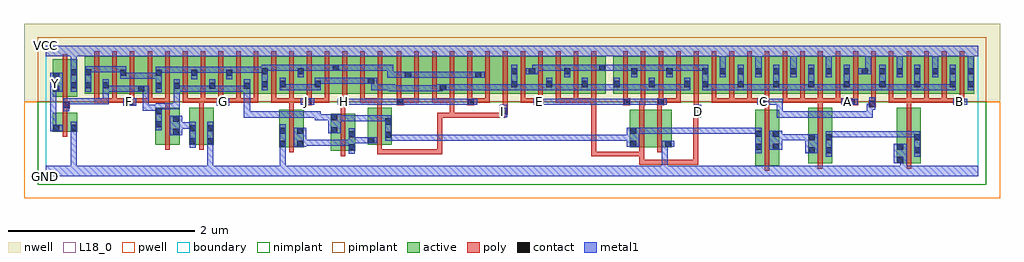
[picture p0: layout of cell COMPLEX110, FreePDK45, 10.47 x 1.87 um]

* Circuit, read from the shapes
.subckt COMPLEX110 A B C D E F G GND H I J VCC Y
M1 GND n1 Y VSUBS nfet w=0.2u l=0.05u
M2 n2 F n1 VSUBS nfet w=0.4u l=0.05u
M3 GND G n2 VSUBS nfet w=0.4u l=0.05u
M4 n3 J GND VSUBS nfet w=0.4u l=0.05u
M5 n3 H n1 VSUBS nfet w=0.4u l=0.05u
M6 n1 I n3 VSUBS nfet w=0.4u l=0.05u
M7 n4 D n1 VSUBS nfet w=0.4u l=0.05u
M8 GND E n4 VSUBS nfet w=0.4u l=0.05u
M9 n5 C n1 VSUBS nfet w=0.6u l=0.05u
M10 n6 A n5 VSUBS nfet w=0.6u l=0.05u
M11 n6 B GND VSUBS nfet w=0.6u l=0.05u
M12 VCC n1 Y n7 pfet w=0.4u l=0.05u
M13 n1 F n8 n7 pfet w=0.4u l=0.05u m=5
M14 n8 G n1 n7 pfet w=0.4u l=0.05u m=5
M15 n9 J n8 n7 pfet w=0.4u l=0.05u m=4
M16 n10 H n8 n7 pfet w=0.4u l=0.05u
M17 n9 I n10 n7 pfet w=0.4u l=0.05u
M18 n11 I n9 n7 pfet w=0.4u l=0.05u
M19 n8 H n11 n7 pfet w=0.4u l=0.05u
M20 n12 H n8 n7 pfet w=0.4u l=0.05u
M21 n9 I n12 n7 pfet w=0.4u l=0.05u
M22 n13 I n9 n7 pfet w=0.4u l=0.05u
M23 n8 H n13 n7 pfet w=0.4u l=0.05u
M24 n14 H n8 n7 pfet w=0.4u l=0.05u
M25 n9 I n14 n7 pfet w=0.4u l=0.05u
M26 n15 E n9 n7 pfet w=0.4u l=0.05u m=5
M27 n15 D n9 n7 pfet w=0.4u l=0.05u m=5
M28 VCC C n15 n7 pfet w=0.4u l=0.05u m=5
M29 VCC A n15 n7 pfet w=0.4u l=0.05u m=5
M30 VCC B n15 n7 pfet w=0.4u l=0.05u m=5
.ends

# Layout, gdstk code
import gdstk
lib = gdstk.Library(unit=1e-6, precision=1e-09)
def R(c, l, rs):  # rectangles x0, y0, x1, y1
    for r in rs: c.add(gdstk.rectangle(r[:2], r[2:], *l))
def A(c, l, x, y, w, h, nx, ny, dx, dy):  # array of equal rectangles
    R(c, l, [(x+i*dx, y+j*dy, x+i*dx+w, y+j*dy+h) for i in range(nx) for j in range(ny)])
active = (1, 0)
pwell = (2, 0)
nwell = (3, 0)
nimplant = (4, 0)
pimplant = (5, 0)
poly = (9, 0)
contact = (10, 0)
metal1 = (11, 0)
L18_0 = (18, 0)
boundary = (235, 0)

complex110 = lib.new_cell('COMPLEX110')
A(complex110, active, 0.985, 0.887, 0.075, 0.183, 3, 1, 0.38, 0)
A(complex110, active, 6.272, 0.887, 0.265, 0.4, 3, 1, 0.19, 0)
A(complex110, active, 9.122, 0.887, 0.265, 0.4, 4, 1, 0.19, 0)
R(complex110, active, [(7.607,0.112,7.867,0.712), (8.177,0.137,8.437,0.737), (9.127,0.137,9.387,0.737), (9.127,0.137,9.202,0.737), (7.607,0.145,7.682,0.712), (7.792,0.145,7.867,0.712), (8.177,0.145,8.252,0.737), (8.362,0.145,8.437,0.737), (9.312,0.145,9.387,0.737), (3.057,0.272,3.317,0.672), (3.242,0.272,3.317,0.562), (2.505,0.312,2.58,0.712), (2.505,0.312,2.765,0.712), (2.69,0.312,2.765,0.562), (6.262,0.312,6.487,0.712), (6.262,0.312,6.337,0.712), (6.487,0.312,6.712,0.712), (6.637,0.312,6.712,0.617), (3.057,0.33,3.132,0.672), (1.175,0.337,1.435,0.737), (1.54,0.337,1.615,0.737), (1.54,0.337,1.8,0.737), (1.725,0.337,1.8,0.737), (3.45,0.337,3.71,0.737), (3.45,0.337,3.525,0.68), (1.175,0.345,1.25,0.737), (1.36,0.345,1.435,0.737), (3.635,0.345,3.71,0.737), (0.075,0.48,0.15,0.68), (0.075,0.48,0.335,0.68), (0.26,0.48,0.335,0.68), (0.075,0.855,0.335,1.255), (0.075,0.855,0.15,1.2), (0.26,0.855,0.335,1.255), (0.415,0.887,0.68,1.287), (0.415,0.887,0.49,1.2), (0.605,0.887,0.865,1.287), (0.79,0.887,0.865,1.2), (0.79,0.887,1.06,1.287), (0.985,0.887,1.247,1.287), (1.172,0.887,1.247,1.2), (1.172,0.887,1.44,1.287), (1.365,0.887,1.63,1.287), (1.555,0.887,1.82,1.287), (1.745,0.887,2.005,1.287), (1.93,0.887,2.195,1.287), (2.12,0.887,2.385,1.287), (2.12,0.887,2.195,1.07), (2.31,0.887,2.385,1.2), (2.31,0.887,2.58,1.287), (2.505,0.887,2.77,1.287), (2.505,0.887,2.58,1.07), (2.695,0.887,2.955,1.287), (2.88,0.887,3.145,1.287), (2.88,0.887,2.955,1.07), (3.07,0.887,3.145,1.2), (3.07,0.887,3.3,1.287), (3.3,0.887,3.525,1.287), (3.45,0.887,3.525,1.07), (3.45,0.887,3.692,1.287), (3.692,0.887,3.922,1.287), (3.847,0.887,4.072,1.287), (4.072,0.887,4.297,1.287), (4.222,0.887,4.297,1.07), (4.222,0.887,4.452,1.287), (4.452,0.887,4.677,1.287), (4.602,0.887,4.832,1.287), (4.832,0.887,5.062,1.287), (4.987,0.887,5.252,1.287), (5.177,0.887,5.437,1.287), (5.362,0.887,5.632,1.287), (5.362,0.887,5.437,1.07), (5.557,0.887,5.817,1.287), (5.742,0.887,6.007,1.287), (5.742,0.887,5.817,1.07), (5.932,0.887,6.007,1.2), (6.087,0.887,6.347,1.287), (6.087,0.887,6.162,1.07), (6.272,0.887,6.347,1.2), (6.462,0.887,6.537,1.07), (6.842,0.887,7.112,1.287), (6.842,0.887,6.917,1.07), (7.037,0.887,7.297,1.287), (7.222,0.887,7.297,1.255), (7.222,0.887,7.492,1.287), (7.417,0.887,7.682,1.287), (7.417,0.887,7.492,1.2), (7.607,0.887,7.872,1.287), (7.797,0.887,8.057,1.287), (7.797,0.887,7.872,1.2), (7.982,0.887,8.247,1.287), (8.172,0.887,8.437,1.287), (8.172,0.887,8.247,1.2), (8.362,0.887,8.63,1.287), (8.555,0.887,8.822,1.287), (8.747,0.887,8.822,1.255), (8.747,0.887,9.012,1.287), (8.937,0.887,9.197,1.287), (9.502,0.887,9.577,1.255), (9.692,0.887,9.767,1.2), (9.882,0.887,9.957,1.255), (0.605,0.907,0.68,1.07), (1.555,0.907,1.63,1.2), (1.93,0.907,2.005,1.2), (2.695,0.907,2.77,1.2), (3.847,0.907,3.922,1.2), (4.602,0.907,4.677,1.2), (4.987,0.907,5.062,1.2), (5.177,0.907,5.252,1.2), (5.557,0.907,5.632,1.2), (6.652,0.907,6.727,1.2), (7.037,0.907,7.112,1.2), (7.607,0.907,7.682,1.255), (7.982,0.907,8.057,1.255), (8.362,0.907,8.437,1.255), (8.555,0.907,8.63,1.2), (8.937,0.907,9.012,1.2), (9.122,0.907,9.197,1.255), (9.312,0.907,9.387,1.2)])
R(complex110, pwell, [(-0.235,-0.235,10.235,0.8)])
R(complex110, nwell, [(-0.235,0.8,10.235,1.635)])
R(complex110, nimplant, [(-0.09,-0.09,10.09,0.8)])
R(complex110, pimplant, [(-0.09,0.8,10.09,1.49)])
A(complex110, poly, 0.52, 0.787, 0.05, 0.095, 17, 1, 0.19, 0)
A(complex110, poly, 1.66, 0.787, 0.24, 0.05, 4, 1, 0.38, 0)
A(complex110, poly, 3.762, 0.787, 0.05, 0.095, 6, 1, 0.19, 0)
A(complex110, poly, 5.092, 0.787, 0.05, 0.095, 5, 1, 0.19, 0)
A(complex110, poly, 7.142, 0.787, 0.05, 0.095, 9, 1, 0.19, 0)
A(complex110, poly, 7.902, 0.787, 0.24, 0.05, 3, 1, 0.19, 0)
A(complex110, poly, 9.042, 0.787, 0.05, 0.095, 5, 1, 0.19, 0)
A(complex110, poly, 9.042, 0.787, 0.24, 0.05, 3, 1, 0.19, 0)
A(complex110, poly, 9.232, 0.787, 0.05, 0.05, 3, 1, 0.19, 0)
A(complex110, poly, 0.52, 0.832, 0.05, 0.51, 17, 1, 0.19, 0)
A(complex110, poly, 3.762, 0.832, 0.05, 0.51, 12, 1, 0.19, 0)
A(complex110, poly, 6.192, 0.832, 0.05, 0.51, 20, 1, 0.19, 0)
R(complex110, poly, [(7.712,0.057,7.762,0.767), (8.282,0.082,8.332,0.792), (9.232,0.082,9.282,0.792), (6.367,0.125,6.517,0.175), (6.367,0.125,6.417,0.262), (6.467,0.125,6.517,0.175), (6.467,0.125,6.55,0.175), (6.5,0.125,6.55,0.175), (6.5,0.125,6.765,0.175), (6.715,0.125,6.765,0.175), (6.715,0.125,6.765,0.175), (6.715,0.125,6.765,0.175), (6.715,0.125,6.765,0.175), (6.715,0.125,6.765,0.175), (6.715,0.125,6.997,0.175), (6.947,0.125,6.997,0.175), (6.947,0.125,6.997,0.175), (6.947,0.125,6.997,0.175), (6.947,0.125,6.997,0.175), (6.947,0.125,6.997,0.175), (6.947,0.125,6.997,0.175), (6.947,0.125,6.997,0.175), (6.947,0.125,6.997,0.712), (5.852,0.212,5.902,0.262), (5.852,0.212,6.212,0.262), (5.852,0.212,5.902,0.837), (6.162,0.212,6.212,0.262), (6.162,0.212,6.212,0.262), (6.162,0.212,6.212,0.262), (6.162,0.212,6.212,0.262), (6.162,0.212,6.212,0.262), (6.162,0.212,6.212,0.262), (6.162,0.212,6.212,0.262), (6.162,0.212,6.385,0.262), (6.335,0.212,6.385,0.262), (6.335,0.212,6.417,0.262), (6.367,0.212,6.417,0.307), (3.162,0.217,3.212,0.727), (3.555,0.237,3.605,0.332), (3.555,0.237,3.605,0.287), (3.555,0.237,3.605,0.287), (3.555,0.237,3.605,0.287), (3.555,0.237,3.87,0.287), (3.82,0.237,3.87,0.287), (3.82,0.237,3.87,0.287), (3.82,0.237,3.87,0.287), (3.82,0.237,4.06,0.287), (4.01,0.237,4.06,0.287), (4.01,0.237,4.06,0.287), (4.01,0.237,4.06,0.287), (4.01,0.237,4.25,0.287), (4.2,0.237,4.25,0.287), (4.2,0.237,4.25,0.68), (2.61,0.257,2.66,0.767), (6.367,0.257,6.417,0.767), (6.557,0.257,6.607,0.767), (1.28,0.282,1.33,0.792), (1.645,0.282,1.695,0.792), (3.555,0.282,3.605,0.792), (0.18,0.425,0.23,0.735), (4.2,0.63,4.25,0.68), (4.2,0.63,4.25,0.68), (4.2,0.63,4.25,0.68), (4.2,0.63,4.25,0.68), (4.2,0.63,4.25,0.68), (4.2,0.63,4.382,0.68), (4.332,0.63,4.382,0.68), (4.332,0.63,4.382,0.68), (4.332,0.63,4.382,0.68), (4.332,0.63,4.382,0.68), (4.332,0.63,4.382,0.68), (4.332,0.63,4.532,0.68), (4.332,0.63,4.382,0.837), (4.482,0.63,4.532,0.68), (4.482,0.63,4.532,0.68), (4.482,0.63,4.532,0.68), (4.482,0.63,4.73,0.68), (4.68,0.63,4.73,0.68), (4.68,0.63,4.927,0.68), (4.877,0.63,4.927,0.68), (4.877,0.63,4.927,0.68), (4.877,0.63,4.927,0.68), (4.877,0.63,4.927,0.68), (4.877,0.63,4.927,0.712), (4.877,0.662,4.927,0.712), (4.877,0.662,4.952,0.737), (6.947,0.662,6.997,0.712), (6.947,0.662,6.997,0.712), (6.947,0.662,7.022,0.737), (3.162,0.677,3.212,0.812), (0.18,0.685,0.23,0.78), (4.902,0.687,4.952,0.882), (6.952,0.687,7.002,0.882), (2.61,0.717,2.66,0.837), (6.367,0.717,6.417,0.812), (6.557,0.717,6.607,0.812), (7.712,0.717,7.762,0.812), (0.18,0.73,0.255,0.805), (1.28,0.742,1.33,0.837), (1.645,0.742,1.695,0.837), (3.555,0.742,3.605,0.837), (8.282,0.742,8.332,0.837), (8.827,0.742,8.902,0.817), (9.232,0.742,9.282,0.837), (0.18,0.755,0.23,0.85), (0.862,0.762,0.95,0.837), (1.85,0.762,1.937,0.837), (2.775,0.762,2.85,0.837), (3.162,0.762,3.237,0.837), (3.762,0.762,3.837,0.837), (4.522,0.762,4.597,0.837), (5.262,0.762,5.337,0.837), (6.192,0.762,6.267,0.837), (6.367,0.762,6.432,0.812), (6.382,0.762,6.432,0.882), (6.557,0.762,6.632,0.837), (7.662,0.762,7.762,0.837), (8.605,0.762,8.712,0.837), (9.777,0.762,9.852,0.837), (8.852,0.767,8.902,0.882), (0.52,0.787,0.57,0.837), (0.52,0.787,0.76,0.837), (0.71,0.787,0.76,0.837), (0.71,0.787,0.76,0.837), (0.71,0.787,0.76,0.837), (0.71,0.787,0.892,0.837), (0.842,0.787,0.892,0.837), (0.842,0.787,0.912,0.837), (0.9,0.787,1.14,0.837), (1.09,0.787,1.14,0.837), (1.09,0.787,1.14,0.837), (1.09,0.787,1.14,0.837), (1.09,0.787,1.33,0.837), (1.28,0.787,1.33,0.837), (1.28,0.787,1.33,0.837), (1.28,0.787,1.33,0.837), (1.47,0.787,1.52,0.837), (1.47,0.787,1.695,0.837), (1.645,0.787,1.695,0.837), (1.645,0.787,1.695,0.837), (1.645,0.787,1.71,0.837), (1.85,0.787,1.9,0.837), (1.85,0.787,1.9,0.837), (1.887,0.787,2.09,0.837), (2.04,0.787,2.09,0.837), (2.04,0.787,2.09,0.837), (2.04,0.787,2.09,0.837), (2.23,0.787,2.28,0.837), (2.23,0.787,2.28,0.837), (2.23,0.787,2.28,0.837), (2.42,0.787,2.47,0.837), (2.42,0.787,2.47,0.837), (2.42,0.787,2.47,0.837), (2.61,0.787,2.66,0.837), (2.61,0.787,2.66,0.837), (2.61,0.787,2.66,0.837), (2.61,0.787,2.825,0.837), (2.99,0.787,3.04,0.837), (2.99,0.787,3.04,0.837), (2.99,0.787,3.04,0.837), (3.37,0.787,3.42,0.837), (3.37,0.787,3.42,0.837), (3.37,0.787,3.42,0.837), (3.37,0.787,3.605,0.837), (3.555,0.787,3.61,0.837), (3.787,0.787,3.837,0.837), (3.787,0.787,3.837,0.837), (3.787,0.787,4.002,0.837), (3.952,0.787,4.002,0.837), (4.142,0.787,4.192,0.837), (4.142,0.787,4.192,0.837), (4.142,0.787,4.192,0.837), (4.142,0.787,4.382,0.837), (4.332,0.787,4.382,0.837), (4.332,0.787,4.382,0.837), (4.332,0.787,4.382,0.837), (4.547,0.787,4.597,0.837), (4.547,0.787,4.597,0.837), (4.547,0.787,4.762,0.837), (4.712,0.787,4.762,0.837), (5.092,0.787,5.142,0.837), (5.092,0.787,5.312,0.837), (5.262,0.787,5.312,0.837), (5.262,0.787,5.312,0.837), (5.472,0.787,5.522,0.837), (5.472,0.787,5.522,0.837), (5.472,0.787,5.522,0.837), (5.472,0.787,5.712,0.837), (5.662,0.787,5.712,0.837), (5.662,0.787,5.712,0.837), (5.662,0.787,5.712,0.837), (5.662,0.787,5.902,0.837), (5.852,0.787,5.902,0.837), (5.852,0.787,5.902,0.837), (5.852,0.787,5.902,0.837), (5.852,0.787,5.902,0.837), (5.852,0.787,5.902,0.837), (5.852,0.787,5.902,0.837), (5.852,0.787,5.902,0.837), (6.192,0.787,6.242,0.882), (6.572,0.787,6.622,0.882), (6.582,0.787,6.812,0.837), (6.762,0.787,6.812,0.882), (6.762,0.787,6.812,0.837), (6.762,0.787,6.812,0.837), (6.762,0.787,6.812,0.837), (7.142,0.787,7.192,0.837), (7.142,0.787,7.382,0.837), (7.332,0.787,7.382,0.837), (7.332,0.787,7.382,0.837), (7.332,0.787,7.382,0.837), (7.332,0.787,7.572,0.837), (7.522,0.787,7.572,0.837), (7.522,0.787,7.572,0.837), (7.522,0.787,7.572,0.837), (7.522,0.787,7.712,0.837), (7.662,0.787,7.712,0.837), (7.662,0.787,7.712,0.837), (7.902,0.787,7.952,0.837), (8.092,0.787,8.142,0.837), (8.092,0.787,8.142,0.837), (8.092,0.787,8.142,0.837), (8.282,0.787,8.332,0.837), (8.282,0.787,8.332,0.837), (8.282,0.787,8.332,0.837), (8.472,0.787,8.522,0.837), (8.472,0.787,8.522,0.837), (8.472,0.787,8.522,0.837), (8.472,0.787,8.655,0.837), (8.605,0.787,8.655,0.837), (8.605,0.787,8.655,0.837), (9.042,0.787,9.092,0.837), (9.042,0.787,9.092,0.837), (9.042,0.787,9.092,0.837), (9.232,0.787,9.282,0.837), (9.232,0.787,9.282,0.837), (9.612,0.787,9.662,0.837), (9.612,0.787,9.662,0.837), (9.612,0.787,9.827,0.837), (9.777,0.787,9.827,0.837), (9.777,0.787,9.827,0.837), (0.18,0.8,0.23,1.31)])
A(complex110, contact, 7.042, 0.955, 0.065, 0.065, 3, 1, 0.38, 0)
A(complex110, contact, 7.422, 1.095, 0.065, 0.065, 3, 1, 0.19, 0)
A(complex110, contact, 7.987, 1.095, 0.065, 0.065, 3, 1, 0.19, 0)
A(complex110, contact, 9.127, 1.095, 0.065, 0.065, 5, 1, 0.19, 0)
R(complex110, contact, [(9.132,0.142,9.197,0.207), (8.182,0.245,8.247,0.31), (8.367,0.245,8.432,0.31), (9.317,0.245,9.382,0.31), (3.247,0.277,3.312,0.342), (7.612,0.282,7.677,0.347), (7.797,0.282,7.862,0.347), (9.132,0.282,9.197,0.347), (2.51,0.317,2.575,0.382), (2.695,0.317,2.76,0.382), (6.267,0.317,6.332,0.382), (6.642,0.317,6.707,0.382), (1.545,0.342,1.61,0.407), (1.73,0.342,1.795,0.407), (3.455,0.352,3.52,0.417), (8.182,0.385,8.247,0.45), (8.367,0.385,8.432,0.45), (9.317,0.385,9.382,0.45), (3.64,0.415,3.705,0.48), (3.247,0.417,3.312,0.482), (7.612,0.422,7.677,0.487), (7.797,0.422,7.862,0.487), (1.365,0.442,1.43,0.507), (2.51,0.457,2.575,0.522), (2.695,0.457,2.76,0.522), (6.267,0.457,6.332,0.522), (3.062,0.462,3.127,0.527), (1.545,0.482,1.61,0.547), (1.73,0.482,1.795,0.547), (0.08,0.485,0.145,0.55), (0.265,0.485,0.33,0.55), (1.18,0.527,1.245,0.592), (3.64,0.555,3.705,0.62), (1.365,0.582,1.43,0.647), (3.062,0.602,3.127,0.667), (1.18,0.667,1.245,0.732), (4.882,0.667,4.947,0.732), (6.952,0.667,7.017,0.732), (0.185,0.735,0.25,0.8), (8.832,0.747,8.897,0.812), (0.867,0.767,0.932,0.832), (1.867,0.767,1.932,0.832), (2.78,0.767,2.845,0.832), (3.167,0.767,3.232,0.832), (3.767,0.767,3.832,0.832), (4.527,0.767,4.592,0.832), (5.267,0.767,5.332,0.832), (6.197,0.767,6.262,0.832), (6.562,0.767,6.627,0.832), (7.667,0.767,7.732,0.832), (8.61,0.767,8.675,0.832), (9.782,0.767,9.847,0.832), (0.08,0.907,0.145,0.972), (0.99,0.907,1.055,0.972), (4.227,0.92,4.292,0.985), (1.177,0.937,1.242,1.002), (1.37,0.94,1.435,1.005), (1.75,0.94,1.815,1.005), (2.125,0.94,2.19,1.005), (0.265,0.942,0.33,1.007), (0.42,0.942,0.485,1.007), (0.61,0.942,0.675,1.007), (2.315,0.955,2.38,1.02), (4.992,0.955,5.057,1.02), (8.177,0.955,8.242,1.02), (8.56,0.955,8.625,1.02), (8.942,0.955,9.007,1.02), (9.317,0.955,9.382,1.02), (9.697,0.955,9.762,1.02), (9.887,0.955,9.952,1.02), (2.51,0.957,2.575,1.022), (2.885,0.957,2.95,1.022), (5.367,0.957,5.432,1.022), (5.747,0.957,5.812,1.022), (6.092,0.957,6.157,1.022), (6.467,0.957,6.532,1.022), (6.847,0.957,6.912,1.022), (3.455,0.992,3.52,1.057), (0.08,1.047,0.145,1.112), (3.852,1.057,3.917,1.122), (4.607,1.057,4.672,1.122), (1.177,1.077,1.242,1.142), (1.56,1.077,1.625,1.142), (1.935,1.077,2,1.142), (0.795,1.08,0.86,1.145), (0.265,1.082,0.33,1.147), (0.42,1.082,0.485,1.147), (2.315,1.095,2.38,1.16), (2.7,1.095,2.765,1.16), (4.992,1.095,5.057,1.16), (5.182,1.095,5.247,1.16), (5.562,1.095,5.627,1.16), (6.277,1.095,6.342,1.16), (6.657,1.095,6.722,1.16), (7.042,1.095,7.107,1.16), (7.227,1.095,7.292,1.16), (8.56,1.095,8.625,1.16), (8.752,1.095,8.817,1.16), (8.942,1.095,9.007,1.16), (3.075,1.13,3.14,1.195), (5.937,1.13,6.002,1.195)])
A(complex110, metal1, 7.042, 0.92, 0.065, 0.275, 3, 1, 0.38, 0)
A(complex110, metal1, 9.127, 1.13, 0.065, 0.22, 3, 1, 0.38, 0)
R(complex110, metal1, [(0,0,10,0.115), (0.265,0.05,0.33,0.115), (0.265,0.05,0.33,0.115), (0.265,0.05,0.33,0.115), (0.265,0.05,0.33,0.115), (0.265,0.05,0.33,0.115), (0.265,0.05,0.33,0.115), (0.265,0.05,0.33,0.515), (1.73,0.05,1.795,0.115), (1.73,0.05,1.795,0.115), (1.73,0.05,1.795,0.115), (1.73,0.05,1.795,0.115), (1.73,0.05,1.795,0.372), (2.51,0.05,2.575,0.347), (6.607,0.05,6.672,0.115), (6.607,0.05,6.672,0.115), (6.607,0.05,6.672,0.115), (6.607,0.05,6.672,0.115), (6.607,0.05,6.672,0.382), (9.167,0.05,9.232,0.115), (9.167,0.05,9.232,0.115), (9.167,0.05,9.232,0.207), (9.097,0.142,9.232,0.347), (8.367,0.21,8.432,0.485), (9.317,0.21,9.382,0.485), (3.247,0.242,3.312,0.517), (8.147,0.245,8.282,0.45), (7.612,0.247,7.677,0.522), (2.51,0.282,2.575,0.557), (2.51,0.282,2.575,0.347), (2.51,0.282,2.575,0.347), (2.51,0.282,2.575,0.347), (2.51,0.282,2.575,0.347), (7.762,0.282,7.897,0.487), (1.545,0.307,1.61,0.582), (1.73,0.307,1.795,0.582), (2.66,0.317,2.795,0.522), (6.232,0.317,6.367,0.522), (6.607,0.317,6.742,0.382), (2.73,0.325,2.795,0.39), (2.73,0.325,2.795,0.39), (2.73,0.325,2.955,0.39), (2.89,0.325,2.955,0.39), (2.89,0.325,2.955,0.39), (2.89,0.325,2.955,0.39), (2.89,0.325,3.175,0.39), (3.11,0.325,3.175,0.39), (3.11,0.325,3.175,0.39), (3.11,0.325,3.175,0.39), (3.11,0.325,3.312,0.39), (3.247,0.352,3.45,0.417), (3.385,0.352,3.45,0.417), (3.385,0.352,3.485,0.417), (3.42,0.352,3.555,0.417), (3.64,0.38,3.705,0.655), (3.64,0.38,3.96,0.445), (3.895,0.38,3.96,0.445), (3.895,0.38,3.96,0.445), (3.895,0.38,3.96,0.445), (3.895,0.38,4.097,0.445), (4.032,0.38,4.097,0.445), (4.032,0.38,4.097,0.445), (4.032,0.38,4.097,0.445), (4.032,0.38,4.257,0.445), (4.192,0.38,4.395,0.445), (4.192,0.38,4.257,0.445), (4.192,0.38,4.257,0.445), (4.192,0.38,4.257,0.445), (4.33,0.38,4.395,0.445), (4.33,0.38,4.5,0.445), (4.435,0.38,4.5,0.445), (4.435,0.38,4.637,0.445), (4.572,0.38,4.637,0.445), (4.572,0.38,4.637,0.445), (4.572,0.38,4.637,0.445), (4.572,0.38,4.782,0.445), (4.717,0.38,4.92,0.445), (4.717,0.38,4.782,0.445), (4.717,0.38,4.782,0.445), (4.717,0.38,4.782,0.445), (4.855,0.38,4.92,0.445), (4.855,0.38,4.92,0.445), (4.855,0.38,4.92,0.445), (4.855,0.38,5.145,0.445), (5.08,0.38,5.145,0.445), (5.08,0.38,5.205,0.445), (5.14,0.38,5.205,0.445), (5.14,0.38,5.432,0.445), (5.367,0.38,5.57,0.445), (5.367,0.38,5.432,0.445), (5.367,0.38,5.432,0.445), (5.367,0.38,5.432,0.445), (5.505,0.38,5.57,0.445), (5.505,0.38,5.57,0.445), (5.505,0.38,5.57,0.445), (5.505,0.38,5.812,0.445), (5.747,0.38,5.95,0.445), (5.747,0.38,5.812,0.445), (5.747,0.38,5.812,0.445), (5.747,0.38,5.812,0.445), (5.885,0.38,5.95,0.445), (5.885,0.38,6.09,0.445), (6.025,0.38,6.09,0.445), (6.025,0.38,6.09,0.445), (6.025,0.38,6.09,0.445), (6.025,0.38,6.297,0.445), (6.232,0.38,6.297,0.445), (6.232,0.38,6.297,0.445), (7.832,0.385,7.905,0.45), (7.84,0.385,7.905,0.45), (7.84,0.385,8.075,0.45), (8.01,0.385,8.075,0.45), (8.01,0.385,8.075,0.45), (8.01,0.385,8.075,0.45), (8.01,0.385,8.212,0.45), (8.367,0.42,8.432,0.485), (8.367,0.42,8.432,0.485), (8.367,0.42,8.597,0.485), (8.532,0.42,8.597,0.485), (8.532,0.42,8.597,0.485), (8.532,0.42,8.597,0.485), (8.532,0.42,8.87,0.485), (8.805,0.42,8.87,0.485), (8.805,0.42,8.87,0.485), (8.805,0.42,8.87,0.485), (8.805,0.42,9.025,0.485), (8.96,0.42,9.025,0.485), (8.96,0.42,9.025,0.485), (8.96,0.42,9.025,0.485), (8.96,0.42,9.162,0.485), (9.097,0.42,9.162,0.485), (9.097,0.42,9.382,0.485), (9.317,0.42,9.382,0.485), (9.317,0.42,9.382,0.485), (1.33,0.442,1.465,0.647), (0.265,0.45,0.33,0.515), (0.265,0.45,0.33,0.515), (0.265,0.45,0.33,0.585), (6.302,0.457,6.455,0.522), (6.39,0.457,6.455,0.522), (6.39,0.457,6.505,0.522), (6.44,0.457,6.505,0.522), (6.44,0.457,6.592,0.522), (6.527,0.457,6.592,0.522), (6.527,0.457,6.775,0.522), (6.71,0.457,6.775,0.522), (6.71,0.457,6.775,0.522), (6.71,0.457,6.775,0.522), (6.71,0.457,6.97,0.522), (6.905,0.457,6.97,0.522), (6.905,0.457,6.97,0.522), (6.905,0.457,6.97,0.522), (6.905,0.457,7.107,0.522), (7.042,0.457,7.107,0.522), (7.042,0.457,7.107,0.522), (7.042,0.457,7.107,0.522), (7.042,0.457,7.35,0.522), (7.285,0.457,7.35,0.522), (7.285,0.457,7.35,0.522), (7.285,0.457,7.35,0.522), (7.285,0.457,7.54,0.522), (7.475,0.457,7.54,0.522), (7.475,0.457,7.54,0.522), (7.475,0.457,7.54,0.522), (7.475,0.457,7.677,0.522), (3.027,0.462,3.162,0.667), (0.045,0.485,0.18,0.55), (0.047,0.485,0.112,0.55), (0.047,0.485,0.112,0.55), (0.047,0.485,0.112,0.55), (0.047,0.485,0.112,0.55), (0.047,0.485,0.112,0.972), (1.18,0.492,1.245,0.767), (1.4,0.512,1.465,0.577), (1.4,0.512,1.465,0.577), (1.4,0.512,1.61,0.577), (3.097,0.59,3.162,0.655), (3.097,0.59,3.162,0.655), (3.097,0.59,3.312,0.655), (3.247,0.59,3.45,0.655), (3.247,0.59,3.312,0.655), (3.385,0.59,3.45,0.655), (3.385,0.59,3.45,0.655), (3.385,0.59,3.45,0.655), (3.385,0.59,3.587,0.655), (3.522,0.59,3.587,0.655), (3.522,0.59,3.705,0.655), (2.885,0.602,3.092,0.667), (2.885,0.602,2.95,0.695), (2.125,0.63,2.19,0.695), (2.125,0.63,2.327,0.695), (2.125,0.63,2.19,0.97), (2.262,0.63,2.465,0.695), (2.262,0.63,2.327,0.695), (2.262,0.63,2.327,0.695), (2.262,0.63,2.327,0.695), (2.4,0.63,2.465,0.695), (2.4,0.63,2.587,0.695), (2.522,0.63,2.587,0.695), (2.522,0.63,2.587,0.695), (2.522,0.63,2.587,0.695), (2.522,0.63,2.602,0.695), (2.537,0.63,2.602,0.695), (2.537,0.63,2.812,0.695), (2.747,0.63,2.95,0.695), (2.747,0.63,2.812,0.695), (2.747,0.63,2.812,0.695), (2.747,0.63,2.812,0.695), (2.885,0.63,2.95,0.695), (2.885,0.63,2.95,0.695), (7.84,0.63,7.905,0.695), (7.84,0.63,7.905,0.695), (7.84,0.63,7.905,0.695), (7.84,0.63,8.075,0.695), (7.84,0.63,7.905,0.832), (8.01,0.63,8.075,0.695), (8.01,0.63,8.075,0.695), (8.01,0.63,8.075,0.695), (8.01,0.63,8.212,0.695), (8.147,0.63,8.212,0.695), (8.147,0.63,8.212,0.695), (8.147,0.63,8.212,0.695), (8.147,0.63,8.46,0.695), (8.395,0.63,8.46,0.695), (8.395,0.63,8.46,0.695), (8.395,0.63,8.46,0.695), (8.395,0.63,8.597,0.695), (8.532,0.63,8.597,0.695), (8.532,0.63,8.597,0.695), (8.532,0.63,8.597,0.695), (8.532,0.63,8.87,0.695), (8.805,0.63,8.87,0.695), (8.805,0.63,8.87,0.777), (4.867,0.632,4.947,0.767), (6.952,0.632,7.032,0.767), (0.185,0.7,0.25,0.835), (1.04,0.702,1.105,0.767), (1.04,0.702,1.105,0.767), (1.04,0.702,1.105,0.767), (1.04,0.702,1.157,0.767), (1.04,0.702,1.105,0.972), (1.092,0.702,1.157,0.767), (1.092,0.702,1.245,0.767), (1.18,0.702,1.245,0.785), (8.805,0.712,8.87,0.777), (8.805,0.712,8.897,0.777), (8.832,0.712,8.897,0.847), (1.18,0.72,1.245,0.785), (1.18,0.72,1.297,0.785), (1.232,0.72,1.435,0.785), (1.232,0.72,1.297,0.785), (1.37,0.72,1.435,0.785), (1.37,0.72,1.435,0.97), (1.832,0.755,1.967,0.832), (0.832,0.757,0.967,0.835), (9.732,0.765,9.882,0.832), (2.732,0.767,2.88,0.837), (3.132,0.767,3.267,0.832), (3.202,0.767,3.312,0.832), (3.247,0.767,3.45,0.832), (3.247,0.767,3.312,0.832), (3.385,0.767,3.45,0.832), (3.385,0.767,3.45,0.832), (3.385,0.767,3.45,0.832), (3.385,0.767,3.587,0.832), (3.522,0.767,3.587,0.832), (3.522,0.767,3.745,0.832), (3.68,0.767,3.745,0.832), (3.68,0.767,3.797,0.832), (3.732,0.767,3.867,0.832), (3.802,0.767,3.882,0.832), (3.817,0.767,3.882,0.832), (3.817,0.767,4.097,0.832), (4.032,0.767,4.097,0.832), (4.032,0.767,4.097,0.832), (4.032,0.767,4.097,0.832), (4.032,0.767,4.257,0.832), (4.192,0.767,4.395,0.832), (4.192,0.767,4.257,0.832), (4.192,0.767,4.257,0.832), (4.192,0.767,4.257,0.832), (4.33,0.767,4.395,0.832), (4.33,0.767,4.465,0.832), (4.4,0.767,4.465,0.832), (4.4,0.767,4.557,0.832), (4.492,0.767,4.627,0.832), (5.232,0.767,5.367,0.832), (5.302,0.767,5.432,0.832), (5.367,0.767,5.57,0.832), (5.367,0.767,5.432,0.832), (5.505,0.767,5.57,0.832), (5.505,0.767,5.57,0.832), (5.505,0.767,5.57,0.832), (5.505,0.767,5.765,0.832), (5.7,0.767,5.765,0.832), (5.7,0.767,5.765,0.832), (5.7,0.767,5.765,0.832), (5.7,0.767,5.952,0.832), (5.887,0.767,6.09,0.832), (5.887,0.767,5.952,0.832), (6.025,0.767,6.09,0.832), (6.025,0.767,6.09,0.832), (6.025,0.767,6.09,0.832), (6.025,0.767,6.227,0.832), (6.162,0.767,6.297,0.832), (6.232,0.767,6.297,0.832), (6.232,0.767,6.297,0.832), (6.232,0.767,6.455,0.832), (6.39,0.767,6.455,0.832), (6.39,0.767,6.505,0.832), (6.44,0.767,6.505,0.832), (6.44,0.767,6.592,0.832), (6.527,0.767,6.662,0.832), (7.632,0.767,7.767,0.832), (7.702,0.767,7.905,0.832), (7.84,0.767,7.905,0.832), (8.532,0.767,8.71,0.832), (0.185,0.77,0.25,0.835), (0.185,0.77,0.25,0.835), (0.185,0.77,0.537,0.835), (0.472,0.77,0.675,0.835), (0.472,0.77,0.537,0.835), (0.472,0.77,0.537,0.835), (0.472,0.77,0.537,0.835), (0.61,0.77,0.675,0.835), (0.61,0.77,0.675,0.972), (1.177,0.902,1.242,1.177), (1.37,0.905,1.435,0.97), (1.37,0.905,1.435,0.97), (1.37,0.905,1.435,1.04), (1.37,0.905,1.602,0.97), (1.537,0.905,1.602,0.97), (1.537,0.905,1.602,0.97), (1.537,0.905,1.602,0.97), (1.537,0.905,1.815,0.97), (1.75,0.905,1.815,0.97), (1.75,0.905,1.815,0.97), (1.75,0.905,1.815,1.04), (1.75,0.905,2.052,0.97), (1.987,0.905,2.19,0.97), (1.987,0.905,2.052,0.97), (1.987,0.905,2.052,0.97), (1.987,0.905,2.052,0.97), (2.125,0.905,2.19,1.04), (0.045,0.907,0.18,1.112), (0.047,0.907,0.112,0.972), (0.047,0.907,0.112,0.972), (0.265,0.907,0.33,1.182), (0.42,0.907,0.485,1.182), (0.61,0.907,0.675,0.972), (0.61,0.907,0.675,0.972), (0.61,0.907,0.675,1.042), (0.61,0.907,0.812,0.972), (0.747,0.907,0.812,0.972), (0.747,0.907,1.02,0.972), (0.955,0.907,1.02,0.972), (0.955,0.907,1.02,0.972), (0.955,0.907,1.105,0.972), (3.68,0.912,3.745,0.985), (3.68,0.912,3.96,0.977), (3.895,0.912,3.96,0.977), (3.895,0.912,3.96,0.977), (3.895,0.912,3.96,0.977), (3.895,0.912,4.097,0.977), (4.032,0.912,4.097,0.977), (4.032,0.912,4.097,0.977), (4.032,0.912,4.097,0.977), (4.032,0.912,4.257,0.977), (4.192,0.912,4.257,0.985), (2.315,0.92,2.38,1.195), (3.49,0.92,3.587,0.985), (3.49,0.92,3.555,1.057), (3.522,0.92,3.587,0.985), (3.522,0.92,3.745,0.985), (4.192,0.92,4.257,0.985), (4.192,0.92,4.327,0.985), (4.262,0.92,4.395,0.985), (4.33,0.92,4.395,0.985), (4.33,0.92,4.465,0.985), (4.4,0.92,4.465,0.985), (4.4,0.92,4.645,0.985), (4.58,0.92,4.645,0.985), (4.58,0.92,4.645,0.985), (4.58,0.92,4.645,0.985), (4.58,0.92,4.782,0.985), (4.717,0.92,4.92,0.985), (4.717,0.92,4.782,0.985), (4.717,0.92,4.782,0.985), (4.717,0.92,4.782,0.985), (4.855,0.92,4.92,0.985), (4.855,0.92,5.057,0.985), (4.992,0.92,5.057,1.195), (7.422,0.92,7.487,0.985), (7.422,0.92,7.487,0.985), (7.422,0.92,7.677,0.985), (7.612,0.92,7.677,0.985), (7.612,0.92,7.677,0.985), (7.612,0.92,7.677,0.985), (7.612,0.92,7.867,0.985), (8.177,0.92,8.242,1.195), (8.177,0.92,8.242,0.985), (8.177,0.92,8.242,0.985), (8.177,0.92,8.46,0.985), (8.395,0.92,8.46,0.985), (8.395,0.92,8.46,0.985), (8.395,0.92,8.46,0.985), (8.395,0.92,8.625,0.985), (8.56,0.92,8.625,1.195), (8.56,0.92,8.625,0.985), (8.56,0.92,8.625,0.985), (8.56,0.92,8.87,0.985), (8.805,0.92,8.87,0.985), (8.805,0.92,8.87,0.985), (8.805,0.92,8.87,0.985), (8.805,0.92,9.007,0.985), (8.942,0.92,9.007,1.195), (8.942,0.92,9.245,0.985), (9.18,0.92,9.245,0.985), (9.18,0.92,9.245,0.985), (9.18,0.92,9.245,0.985), (9.18,0.92,9.382,0.985), (9.317,0.92,9.382,1.195), (9.317,0.92,9.382,0.985), (9.317,0.92,9.382,0.985), (9.317,0.92,9.522,0.985), (9.457,0.92,9.66,0.985), (9.457,0.92,9.522,0.985), (9.457,0.92,9.522,0.985), (9.457,0.92,9.522,0.985), (9.595,0.92,9.762,0.985), (9.595,0.92,9.66,0.985), (9.697,0.92,9.762,1.195), (9.887,0.92,9.952,1.195), (2.51,0.922,2.575,1.057), (2.51,0.922,2.627,0.987), (2.562,0.922,2.627,0.987), (2.562,0.922,2.812,0.987), (2.747,0.922,2.95,0.987), (2.747,0.922,2.812,0.987), (2.747,0.922,2.812,0.987), (2.747,0.922,2.812,0.987), (2.885,0.922,2.95,1.057), (4.992,0.922,5.057,0.987), (4.992,0.922,5.057,0.987), (4.992,0.922,5.295,0.987), (5.23,0.922,5.295,0.987), (5.23,0.922,5.295,0.987), (5.23,0.922,5.295,0.987), (5.23,0.922,5.432,0.987), (5.367,0.922,5.57,0.987), (5.367,0.922,5.432,1.057), (5.505,0.922,5.57,0.987), (5.505,0.922,5.57,0.987), (5.505,0.922,5.57,0.987), (5.505,0.922,5.812,0.987), (5.747,0.922,5.812,0.987), (5.747,0.922,5.812,0.987), (5.747,0.922,5.812,1.057), (5.747,0.922,5.952,0.987), (5.887,0.922,5.952,0.987), (5.887,0.922,5.952,0.987), (5.887,0.922,5.952,0.987), (5.887,0.922,6.157,0.987), (6.092,0.922,6.157,1.057), (6.092,0.922,6.317,0.987), (6.252,0.922,6.455,0.987), (6.252,0.922,6.317,0.987), (6.252,0.922,6.317,0.987), (6.252,0.922,6.317,0.987), (6.39,0.922,6.455,0.987), (6.39,0.922,6.532,0.987), (6.467,0.922,6.532,1.057), (6.467,0.922,6.592,0.987), (6.527,0.922,6.73,0.987), (6.527,0.922,6.592,0.987), (6.665,0.922,6.73,0.987), (6.665,0.922,6.73,0.987), (6.665,0.922,6.73,0.987), (6.665,0.922,6.912,0.987), (6.847,0.922,6.912,1.057), (7.042,0.922,7.245,0.987), (7.042,0.922,7.107,0.987), (7.042,0.922,7.107,0.987), (7.18,0.922,7.245,0.987), (7.18,0.922,7.245,0.987), (7.18,0.922,7.245,0.987), (7.18,0.922,7.487,0.987), (7.802,0.922,7.905,0.987), (7.84,0.922,7.905,0.987), (7.84,0.922,8.042,0.987), (7.977,0.922,8.042,0.987), (7.977,0.922,8.042,0.987), (7.977,0.922,8.042,0.987), (7.977,0.922,8.242,0.987), (2.885,0.992,2.95,1.057), (2.885,0.992,2.95,1.057), (2.885,0.992,3.175,1.057), (3.11,0.992,3.175,1.057), (3.11,0.992,3.312,1.057), (3.247,0.992,3.45,1.057), (3.247,0.992,3.312,1.057), (3.247,0.992,3.312,1.057), (3.247,0.992,3.312,1.057), (3.385,0.992,3.45,1.057), (3.385,0.992,3.485,1.057), (3.42,0.992,3.555,1.057), (3.49,0.992,3.555,1.057), (1.56,1.042,1.625,1.177), (1.935,1.042,2,1.177), (0.795,1.045,0.86,1.18), (0.795,1.045,0.997,1.11), (0.932,1.045,0.997,1.11), (0.932,1.045,0.997,1.11), (0.932,1.045,0.997,1.11), (0.932,1.045,1.157,1.11), (1.092,1.045,1.157,1.11), (1.092,1.045,1.242,1.11), (3.66,1.057,3.882,1.122), (3.66,1.057,3.725,1.195), (3.817,1.057,3.952,1.122), (3.887,1.057,4.12,1.122), (4.055,1.057,4.12,1.122), (4.055,1.057,4.12,1.122), (4.055,1.057,4.12,1.122), (4.055,1.057,4.257,1.122), (4.192,1.057,4.395,1.122), (4.192,1.057,4.257,1.122), (4.192,1.057,4.257,1.122), (4.192,1.057,4.257,1.122), (4.33,1.057,4.395,1.122), (4.33,1.057,4.465,1.122), (4.4,1.057,4.465,1.122), (4.4,1.057,4.637,1.122), (4.572,1.057,4.637,1.122), (4.572,1.057,4.637,1.122), (4.572,1.057,4.707,1.122), (2.7,1.06,2.765,1.195), (5.562,1.06,5.627,1.195), (6.277,1.06,6.342,1.195), (6.657,1.06,6.722,1.195), (7.227,1.06,7.292,1.195), (7.612,1.06,7.677,1.195), (7.987,1.06,8.052,1.195), (8.367,1.06,8.432,1.195), (9.127,1.06,9.192,1.195), (9.507,1.06,9.572,1.195), (5.147,1.095,5.282,1.16), (5.217,1.095,5.282,1.16), (5.217,1.095,5.282,1.195), (8.717,1.095,8.852,1.16), (8.787,1.095,8.852,1.35), (1.177,1.112,1.295,1.177), (1.23,1.112,1.295,1.177), (1.23,1.112,1.435,1.177), (1.37,1.112,1.435,1.177), (1.37,1.112,1.435,1.177), (1.37,1.112,1.435,1.177), (1.37,1.112,1.625,1.177), (1.56,1.112,1.625,1.177), (1.56,1.112,1.625,1.177), (1.56,1.112,1.762,1.177), (1.697,1.112,1.762,1.177), (1.697,1.112,1.762,1.177), (1.697,1.112,1.762,1.177), (1.697,1.112,2,1.177), (1.935,1.112,2,1.177), (1.935,1.112,2,1.177), (1.935,1.112,2.19,1.177), (2.125,1.112,2.19,1.177), (2.125,1.112,2.19,1.177), (2.125,1.112,2.19,1.177), (2.125,1.112,2.38,1.177), (0.42,1.115,0.485,1.18), (0.42,1.115,0.485,1.18), (0.42,1.115,0.675,1.18), (0.61,1.115,0.675,1.18), (0.61,1.115,0.675,1.18), (0.61,1.115,0.675,1.18), (0.61,1.115,0.86,1.18), (0.265,1.117,0.33,1.35), (2.315,1.13,2.465,1.195), (2.4,1.13,2.465,1.195), (2.4,1.13,2.587,1.195), (2.522,1.13,2.587,1.195), (2.522,1.13,2.602,1.195), (2.537,1.13,2.602,1.195), (2.537,1.13,2.765,1.195), (2.7,1.13,2.765,1.195), (2.7,1.13,2.765,1.195), (2.7,1.13,2.95,1.195), (2.885,1.13,2.95,1.195), (2.885,1.13,2.95,1.195), (2.885,1.13,2.95,1.195), (2.885,1.13,3.105,1.195), (3.04,1.13,3.175,1.195), (3.11,1.13,3.312,1.195), (3.247,1.13,3.45,1.195), (3.247,1.13,3.312,1.195), (3.247,1.13,3.312,1.195), (3.247,1.13,3.312,1.195), (3.385,1.13,3.45,1.195), (3.385,1.13,3.45,1.195), (3.385,1.13,3.45,1.195), (3.385,1.13,3.587,1.195), (3.522,1.13,3.725,1.195), (3.522,1.13,3.587,1.195), (3.66,1.13,3.725,1.195), (3.66,1.13,3.725,1.195), (5.217,1.13,5.432,1.195), (5.367,1.13,5.432,1.195), (5.367,1.13,5.627,1.195), (5.562,1.13,5.765,1.195), (5.562,1.13,5.627,1.195), (5.562,1.13,5.627,1.195), (5.7,1.13,5.765,1.195), (5.7,1.13,5.765,1.195), (5.7,1.13,5.765,1.195), (5.7,1.13,5.952,1.195), (5.887,1.13,5.952,1.195), (5.887,1.13,5.967,1.195), (5.902,1.13,6.037,1.195), (5.972,1.13,6.16,1.195), (6.095,1.13,6.16,1.195), (6.095,1.13,6.227,1.195), (6.162,1.13,6.227,1.195), (6.162,1.13,6.342,1.195), (6.277,1.13,6.455,1.195), (6.39,1.13,6.455,1.195), (6.39,1.13,6.535,1.195), (6.47,1.13,6.535,1.195), (6.47,1.13,6.592,1.195), (6.527,1.13,6.592,1.195), (6.527,1.13,6.722,1.195), (6.657,1.13,6.73,1.195), (6.665,1.13,6.73,1.195), (6.665,1.13,6.97,1.195), (6.905,1.13,6.97,1.195), (6.905,1.13,6.97,1.195), (6.905,1.13,6.97,1.195), (6.905,1.13,7.107,1.195), (7.227,1.13,7.292,1.35), (7.612,1.13,7.677,1.35), (7.987,1.13,8.052,1.35), (8.367,1.13,8.432,1.35), (0,1.285,10,1.4)])
A(complex110, L18_0, 9.127, 1.13, 0.065, 0.22, 3, 1, 0.38, 0)
R(complex110, L18_0, [(0,0,10,0.115), (0.265,0.05,0.33,0.115), (0.265,0.05,0.33,0.115), (0.265,0.05,0.33,0.115), (0.265,0.05,0.33,0.115), (0.265,0.05,0.33,0.115), (0.265,0.05,0.33,0.115), (0.265,0.05,0.33,0.515), (1.73,0.05,1.795,0.115), (1.73,0.05,1.795,0.115), (1.73,0.05,1.795,0.115), (1.73,0.05,1.795,0.115), (1.73,0.05,1.795,0.372), (2.51,0.05,2.575,0.347), (6.607,0.05,6.672,0.115), (6.607,0.05,6.672,0.115), (6.607,0.05,6.672,0.115), (6.607,0.05,6.672,0.115), (6.607,0.05,6.672,0.382), (9.167,0.05,9.232,0.115), (9.167,0.05,9.232,0.115), (9.167,0.05,9.232,0.207), (9.097,0.142,9.232,0.347), (2.51,0.282,2.575,0.347), (2.51,0.282,2.575,0.347), (2.51,0.282,2.575,0.347), (2.51,0.282,2.575,0.347), (2.51,0.282,2.575,0.557), (1.73,0.307,1.795,0.582), (6.607,0.317,6.742,0.382), (0.265,0.45,0.33,0.515), (0.265,0.45,0.33,0.515), (0.265,0.45,0.33,0.585), (0.045,0.485,0.18,0.55), (0.047,0.485,0.112,0.55), (0.047,0.485,0.112,0.55), (0.047,0.485,0.112,0.55), (0.047,0.485,0.112,0.55), (0.047,0.485,0.112,0.972), (7.84,0.63,7.905,0.695), (7.84,0.63,7.905,0.695), (7.84,0.63,7.905,0.695), (7.84,0.63,7.905,0.832), (7.84,0.63,8.075,0.695), (8.01,0.63,8.075,0.695), (8.01,0.63,8.075,0.695), (8.01,0.63,8.075,0.695), (8.01,0.63,8.212,0.695), (8.147,0.63,8.212,0.695), (8.147,0.63,8.212,0.695), (8.147,0.63,8.212,0.695), (8.147,0.63,8.46,0.695), (8.395,0.63,8.46,0.695), (8.395,0.63,8.46,0.695), (8.395,0.63,8.46,0.695), (8.395,0.63,8.597,0.695), (8.532,0.63,8.597,0.695), (8.532,0.63,8.597,0.695), (8.532,0.63,8.597,0.695), (8.532,0.63,8.87,0.695), (8.805,0.63,8.87,0.695), (8.805,0.63,8.87,0.777), (4.867,0.632,4.947,0.767), (6.952,0.632,7.032,0.767), (4.867,0.667,4.932,0.732), (6.967,0.667,7.032,0.732), (8.805,0.712,8.87,0.777), (8.805,0.712,8.897,0.777), (8.832,0.712,8.897,0.847), (1.832,0.755,1.967,0.832), (0.832,0.757,0.967,0.835), (9.732,0.765,9.882,0.832), (0.867,0.767,0.932,0.832), (1.867,0.767,1.932,0.832), (2.732,0.767,2.88,0.837), (2.767,0.767,2.832,0.832), (3.132,0.767,3.267,0.832), (3.167,0.767,3.232,0.832), (3.202,0.767,3.312,0.832), (3.247,0.767,3.312,0.832), (3.247,0.767,3.45,0.832), (3.385,0.767,3.45,0.832), (3.385,0.767,3.45,0.832), (3.385,0.767,3.45,0.832), (3.385,0.767,3.587,0.832), (3.522,0.767,3.587,0.832), (3.522,0.767,3.745,0.832), (3.68,0.767,3.745,0.832), (3.68,0.767,3.797,0.832), (3.732,0.767,3.867,0.832), (3.802,0.767,3.882,0.832), (3.817,0.767,3.882,0.832), (3.817,0.767,4.097,0.832), (4.032,0.767,4.097,0.832), (4.032,0.767,4.097,0.832), (4.032,0.767,4.097,0.832), (4.032,0.767,4.257,0.832), (4.192,0.767,4.257,0.832), (4.192,0.767,4.257,0.832), (4.192,0.767,4.257,0.832), (4.192,0.767,4.395,0.832), (4.33,0.767,4.465,0.832), (4.33,0.767,4.395,0.832), (4.4,0.767,4.465,0.832), (4.4,0.767,4.557,0.832), (4.492,0.767,4.627,0.832), (5.232,0.767,5.367,0.832), (5.267,0.767,5.332,0.832), (5.302,0.767,5.432,0.832), (5.367,0.767,5.432,0.832), (5.367,0.767,5.57,0.832), (5.505,0.767,5.57,0.832), (5.505,0.767,5.57,0.832), (5.505,0.767,5.57,0.832), (5.505,0.767,5.765,0.832), (5.7,0.767,5.765,0.832), (5.7,0.767,5.765,0.832), (5.7,0.767,5.765,0.832), (5.7,0.767,5.952,0.832), (5.887,0.767,5.952,0.832), (5.887,0.767,6.09,0.832), (6.025,0.767,6.09,0.832), (6.025,0.767,6.09,0.832), (6.025,0.767,6.09,0.832), (6.025,0.767,6.227,0.832), (6.162,0.767,6.297,0.832), (6.232,0.767,6.297,0.832), (6.232,0.767,6.297,0.832), (6.232,0.767,6.455,0.832), (6.39,0.767,6.455,0.832), (6.39,0.767,6.505,0.832), (6.44,0.767,6.505,0.832), (6.44,0.767,6.592,0.832), (6.527,0.767,6.662,0.832), (7.632,0.767,7.767,0.832), (7.667,0.767,7.732,0.832), (7.702,0.767,7.905,0.832), (7.84,0.767,7.905,0.832), (8.532,0.767,8.71,0.832), (8.567,0.767,8.632,0.832), (9.767,0.767,9.832,0.832), (0.045,0.907,0.18,1.112), (0.047,0.907,0.112,0.972), (0.047,0.907,0.112,0.972), (0.265,0.907,0.33,1.182), (9.887,0.92,9.952,1.195), (0.067,0.967,0.132,1.032), (7.227,1.06,7.292,1.195), (7.612,1.06,7.677,1.195), (7.987,1.06,8.052,1.195), (8.367,1.06,8.432,1.195), (9.127,1.06,9.192,1.195), (9.507,1.06,9.572,1.195), (8.717,1.095,8.852,1.16), (8.787,1.095,8.852,1.35), (0.265,1.117,0.33,1.35), (7.227,1.13,7.292,1.35), (7.612,1.13,7.677,1.35), (7.987,1.13,8.052,1.35), (8.367,1.13,8.432,1.35), (0,1.285,10,1.4)])
R(complex110, boundary, [(0,0,10,1.4)])
complex110.add(gdstk.Label('A', (8.6,0.8), layer=11, texttype=0))
complex110.add(gdstk.Label('B', (9.8,0.8), layer=11, texttype=0))
complex110.add(gdstk.Label('C', (7.7,0.8), layer=11, texttype=0))
complex110.add(gdstk.Label('D', (7,0.7), layer=11, texttype=0))
complex110.add(gdstk.Label('E', (5.3,0.8), layer=11, texttype=0))
complex110.add(gdstk.Label('F', (0.9,0.8), layer=11, texttype=0))
complex110.add(gdstk.Label('G', (1.9,0.8), layer=11, texttype=0))
complex110.add(gdstk.Label('H', (3.2,0.8), layer=11, texttype=0))
complex110.add(gdstk.Label('I', (4.9,0.7), layer=11, texttype=0))
complex110.add(gdstk.Label('J', (2.8,0.8), layer=11, texttype=0))
complex110.add(gdstk.Label('Y', (0.1,1), layer=11, texttype=0))
complex110.add(gdstk.Label('VCC', (0,1.4), layer=11, texttype=0))
complex110.add(gdstk.Label('GND', (0,0), layer=11, texttype=0))

lib.write_gds('COMPLEX110.gds')
